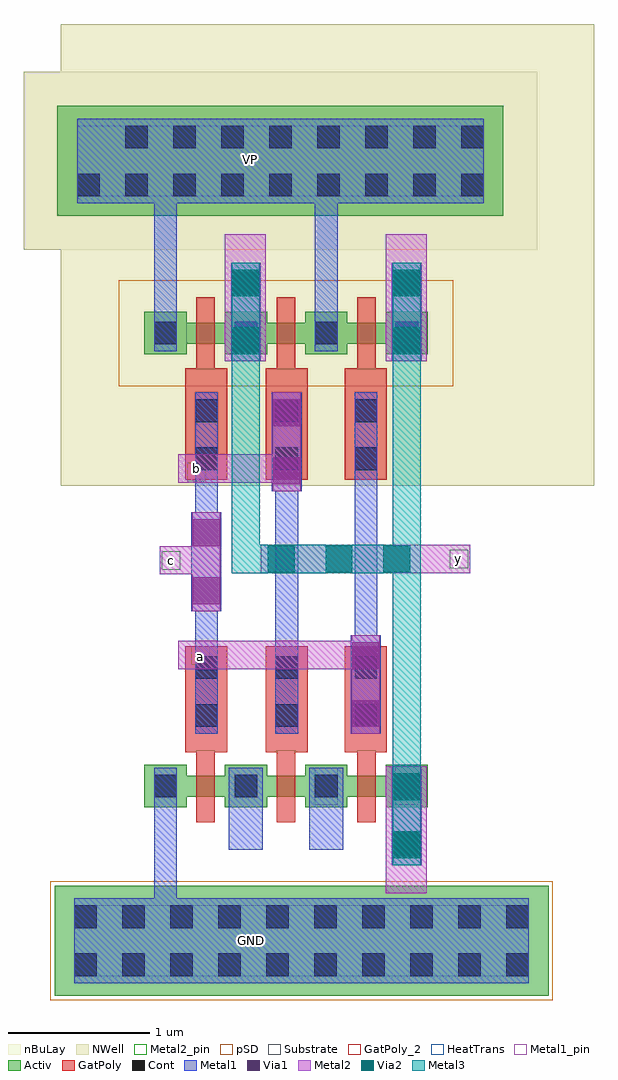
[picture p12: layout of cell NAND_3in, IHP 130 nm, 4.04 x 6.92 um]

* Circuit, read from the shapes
.subckt NAND_3in GND VP a b c y
XM1 n1 c GND GND sg13_lv_nmos w=0.15u l=0.13u
XM2 n2 b n1 GND sg13_lv_nmos w=0.15u l=0.13u
XM3 y a n2 GND sg13_lv_nmos w=0.15u l=0.13u
XM4 y c VP VP sg13_lv_pmos w=0.15u l=0.13u
XM5 VP b y VP sg13_lv_pmos w=0.15u l=0.13u
XM6 y a VP VP sg13_lv_pmos w=0.15u l=0.13u
.ends

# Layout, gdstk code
from math import pi, radians
import gdstk
lib = gdstk.Library(unit=1e-6, precision=1e-09)
def R(c, l, rs):  # rectangles x0, y0, x1, y1
    for r in rs: c.add(gdstk.rectangle(r[:2], r[2:], *l))
def A(c, l, x, y, w, h, nx, ny, dx, dy):  # array of equal rectangles
    R(c, l, [(x+i*dx, y+j*dy, x+i*dx+w, y+j*dy+h) for i in range(nx) for j in range(ny)])
Activ = (1, 0)
GatPoly = (5, 0)
GatPoly_2 = (5, 2)
Cont = (6, 0)
Metal1 = (8, 0)
Metal1_pin = (8, 2)
Metal2 = (10, 0)
Metal2_pin = (10, 2)
pSD = (14, 0)
Via1 = (19, 0)
Via2 = (29, 0)
Metal3 = (30, 0)
NWell = (31, 0)
nBuLay = (32, 0)
Substrate = (40, 0)
HeatTrans = (51, 0)

via_2_5 = lib.new_cell('Via$2$5')
R(via_2_5, Metal1, [(-0.105,-0.35,0.105,0.35)])
R(via_2_5, Metal2, [(-0.1,-0.35,0.1,0.35)])
R(via_2_5, Via1, [(-0.095,-0.3,0.095,-0.11), (-0.095,0.11,0.095,0.3)])

via_3_5 = lib.new_cell('Via$3$5')
R(via_3_5, Metal2, [(-0.1,-0.35,0.1,0.35)])
R(via_3_5, Via2, [(-0.095,-0.3,0.095,-0.11), (-0.095,0.11,0.095,0.3)])
R(via_3_5, Metal3, [(-0.1,-0.35,0.1,0.35)])

via_5 = lib.new_cell('Via$5')
R(via_5, Metal2, [(-0.1,-0.555,0.1,0.555)])
A(via_5, Via2, -0.095, -0.505, 0.19, 0.19, 1, 3, 0, 0.41)
R(via_5, Metal3, [(-0.1,-0.555,0.1,0.555)])

ntap = lib.new_cell('ntap')
R(ntap, Activ, [(-0.665,-0.22,0.115,0.56)])
R(ntap, Cont, [(-0.525,-0.08,-0.365,0.08), (-0.525,0.26,-0.365,0.42), (-0.185,0.26,-0.025,0.42)])
R(ntap, Metal1, [(-0.525,-0.13,-0.025,0.47)])
R(ntap, Metal1_pin, [(-0.525,-0.08,-0.025,0.42)])
R(ntap, NWell, [(-0.905,-0.46,0.355,0.8)])
R(ntap, nBuLay, [(-0.905,-0.46,0.355,0.8)])

ptap = lib.new_cell('ptap')
R(ptap, Activ, [(-0.425,-1.215,0.355,-0.435)])
R(ptap, Cont, [(-0.285,-1.075,-0.125,-0.915), (0.055,-1.075,0.215,-0.915), (-0.285,-0.735,-0.125,-0.575), (0.055,-0.735,0.215,-0.575)])
R(ptap, Metal1, [(-0.285,-1.125,0.215,-0.525)])
R(ptap, Metal1_pin, [(-0.285,-1.075,0.215,-0.575)])
R(ptap, pSD, [(-0.455,-1.245,0.385,-0.405)])

nmos_9 = lib.new_cell('nmos$9')
A(nmos_9, Activ, 0, 0, 0.3, 0.3, 4, 1, 0.57, 0)
R(nmos_9, Activ, [(0,0.075,2.01,0.225)])
A(nmos_9, GatPoly, 0.37, -0.105, 0.13, 0.51, 3, 1, 0.57, 0)
R(nmos_9, GatPoly_2, [(0.37,-0.105,0.5,0.405)])
A(nmos_9, Cont, 0.07, 0.07, 0.16, 0.16, 4, 1, 0.57, 0)
A(nmos_9, Metal1, 0.07, 0.02, 0.16, 0.26, 4, 1, 0.57, 0)
R(nmos_9, Metal1_pin, [(0.07,0.02,0.23,0.28), (0.64,0.02,0.8,0.28)])
A(nmos_9, HeatTrans, 0.37, -0.105, 0.13, 0.51, 3, 1, 0.57, 0)
nmos_9.add(gdstk.Label('nmos', (0.435,0.15), layer=63, texttype=0))
nmos_9.add(gdstk.Label('nmos', (0.435,0.15), layer=51, texttype=0))
nmos_9.add(gdstk.Label('nmos', (1.005,0.15), layer=51, texttype=0))
nmos_9.add(gdstk.Label('nmos', (1.575,0.15), layer=51, texttype=0))

via_4 = lib.new_cell('Via$4')
R(via_4, GatPoly, [(-0.32,-0.15,0.32,0.15)])
R(via_4, Cont, [(-0.25,-0.08,-0.09,0.08), (0.09,-0.08,0.25,0.08)])
R(via_4, Metal1, [(-0.3,-0.08,0.3,0.08)])

pmos_8 = lib.new_cell('pmos$8')
A(pmos_8, Activ, 0, 0, 0.3, 0.3, 4, 1, 0.57, 0)
R(pmos_8, Activ, [(0,0.075,2.01,0.225)])
A(pmos_8, GatPoly, 0.37, -0.105, 0.13, 0.51, 3, 1, 0.57, 0)
R(pmos_8, GatPoly, [(0.37,-0.105,0.5,0.405)])
A(pmos_8, Cont, 0.07, 0.07, 0.16, 0.16, 4, 1, 0.57, 0)
A(pmos_8, Metal1, 0.64, 0.02, 0.16, 0.26, 3, 1, 0.57, 0)
R(pmos_8, Metal1, [(0.07,0.02,0.23,0.28), (0.07,0.02,0.23,0.28), (0.64,0.02,0.8,0.28)])
R(pmos_8, pSD, [(-0.18,-0.225,2.19,0.525)])
R(pmos_8, NWell, [(-0.31,-0.31,2.32,0.61)])
R(pmos_8, Substrate, [(1.71,0,2.01,0.3)])
A(pmos_8, HeatTrans, 0.37, -0.105, 0.13, 0.51, 3, 1, 0.57, 0)
pmos_8.add(gdstk.Label('pmos', (0.435,0.15), layer=63, texttype=0))
pmos_8.add(gdstk.Label('pmos', (0.435,0.15), layer=51, texttype=0))
pmos_8.add(gdstk.Label('pmos', (1.005,0.15), layer=51, texttype=0))
pmos_8.add(gdstk.Label('pmos', (1.575,0.15), layer=51, texttype=0))

nand_3in = lib.new_cell('NAND_3in')
R(nand_3in, GatPoly, [(0.11,-2.53,0.24,-2.42), (0.68,-2.53,0.81,-2.42), (0.03,-2.51,0.33,-2.4), (0.6,-2.51,0.9,-2.4), (1.16,-2.51,1.46,-2.4), (0.03,0.06,0.33,0.21), (0.6,0.06,0.9,0.21), (1.16,0.06,1.46,0.21), (0.68,0.16,0.81,0.25), (1.25,0.16,1.38,0.25)])
R(nand_3in, Metal1, [(-0.19,-3.655,-0.03,-2.875), (0.34,-3.2,0.58,-2.94), (0.91,-3.2,1.15,-2.94), (0.34,-2.96,0.58,-2.62), (0.91,-2.96,1.15,-2.62), (0.67,-2.21,0.83,-1.27), (1.23,-2.21,1.39,-1.27), (0.1,-1.91,0.26,-0.56), (0.67,-1.31,0.83,-0.37), (1.23,-1.31,1.39,-0.37), (0.95,0.48,1.11,0.68), (-0.19,0.49,-0.03,0.63), (-0.19,0.595,-0.03,1.47), (0.95,0.595,1.11,1.42)])
R(nand_3in, Metal1_pin, [(0.435,-3.91,0.565,-3.78), (0.425,1.63,0.555,1.76)])
R(nand_3in, Metal2, [(1.45,-3.51,1.74,-3.31), (1.45,-3.31,1.74,-2.61), (-0.02,-1.92,0.41,-1.72), (0.41,-1.92,0.84,-1.72), (0.81,-1.92,1.24,-1.72), (-0.15,-1.25,0.28,-1.05), (1.62,-1.24,2.05,-1.04), (-0.02,-0.6,0.41,-0.4), (0.41,-0.6,0.84,-0.4), (0.31,0.26,0.6,0.46), (1.45,0.26,1.74,0.46), (0.31,0.46,0.6,1.16), (1.45,0.46,1.74,1.16)])
R(nand_3in, Metal2_pin, [(0.075,-1.89,0.205,-1.76), (-0.135,-1.215,-0.005,-1.085), (1.905,-1.205,2.035,-1.075), (0.045,-0.59,0.175,-0.46)])
R(nand_3in, Metal3, [(1.5,-2.62,1.7,-2.42), (1.5,-2.45,1.7,-1.04), (0.36,-1.24,0.56,-0.97), (0.38,-1.24,0.565,-1.04), (1.5,-1.09,1.7,0.17), (0.36,-0.97,0.56,0.26), (1.5,0.1,1.7,0.2), (1.5,0.19,1.7,0.35)])
R(nand_3in, NWell, [(-0.85,-0.62,2.93,2.65)])
nand_3in.add(gdstk.Reference(via_2_5, (1.31,-2.03), rotation=pi))
nand_3in.add(gdstk.Reference(via_3_5, (1.6,0.61), rotation=pi))
nand_3in.add(gdstk.Reference(via_2_5, (1.6,0.61), rotation=pi))
nand_3in.add(gdstk.Reference(via_3_5, (1.6,-2.96), rotation=pi))
nand_3in.add(gdstk.Reference(via_2_5, (1.6,-2.96), rotation=pi))
nand_3in.add(gdstk.Reference(via_2_5, (0.75,-0.31), rotation=pi))
nand_3in.add(gdstk.Reference(via_5, (1.12,-1.14), rotation=3*pi/2))
nand_3in.add(gdstk.Reference(ntap, (1.62,1.85), rotation=pi))
nand_3in.add(gdstk.Reference(ntap, (1.28,1.85), rotation=pi))
nand_3in.add(gdstk.Reference(ntap, (0.94,1.85), rotation=pi))
nand_3in.add(gdstk.Reference(ntap, (0.6,1.85), rotation=pi))
nand_3in.add(gdstk.Reference(ntap, (0.26,1.85), rotation=pi))
nand_3in.add(gdstk.Reference(ntap, (-0.08,1.85), rotation=pi))
nand_3in.add(gdstk.Reference(ptap, (1.84,-4.67), rotation=pi))
nand_3in.add(gdstk.Reference(ptap, (1.5,-4.67), rotation=pi))
nand_3in.add(gdstk.Reference(ptap, (1.16,-4.67), rotation=pi))
nand_3in.add(gdstk.Reference(ptap, (0.82,-4.67), rotation=pi))
nand_3in.add(gdstk.Reference(ptap, (0.48,-4.67), rotation=pi))
nand_3in.add(gdstk.Reference(ptap, (0.14,-4.67), rotation=pi))
nand_3in.add(gdstk.Reference(nmos_9, (1.75,-2.6), rotation=pi))
nand_3in.add(gdstk.Reference(via_4, (1.31,-2.08), rotation=3*pi/2))
nand_3in.add(gdstk.Reference(via_4, (0.75,-2.08), rotation=3*pi/2))
nand_3in.add(gdstk.Reference(via_4, (0.75,-0.26), rotation=3*pi/2))
nand_3in.add(gdstk.Reference(via_4, (1.31,-0.26), rotation=3*pi/2))
nand_3in.add(gdstk.Reference(pmos_8, (1.75,0.61), rotation=pi))
nand_3in.add(gdstk.Reference(via_4, (0.18,-2.08), rotation=3*pi/2))
nand_3in.add(gdstk.Reference(via_4, (0.18,-0.26), rotation=3*pi/2))
nand_3in.add(gdstk.Reference(via_2_5, (0.18,-1.16), rotation=pi))
nand_3in.add(gdstk.Reference(ntap, (-0.42,1.85), rotation=pi))
nand_3in.add(gdstk.Reference(ntap, (-0.76,1.85), rotation=pi))
nand_3in.add(gdstk.Reference(ptap, (-0.2,-4.67), rotation=pi))
nand_3in.add(gdstk.Reference(ptap, (-0.54,-4.67), rotation=pi))
nand_3in.add(gdstk.Reference(ptap, (2.18,-4.67), rotation=pi))
nand_3in.add(gdstk.Reference(via_3_5, (0.46,0.61), rotation=pi))
nand_3in.add(gdstk.Reference(via_2_5, (0.46,0.61), rotation=pi))
nand_3in.add(gdstk.Label('VP', (0.49,1.69), layer=8, texttype=25))
nand_3in.add(gdstk.Label('GND', (0.5,-3.84), layer=8, texttype=25))
nand_3in.add(gdstk.Label('a', (0.14,-1.83), layer=10, texttype=25))
nand_3in.add(gdstk.Label('b', (0.11,-0.5), layer=10, texttype=25))
nand_3in.add(gdstk.Label('y', (1.97,-1.14), layer=10, texttype=25))
nand_3in.add(gdstk.Label('c', (-0.07,-1.15), layer=10, texttype=25))

lib.write_gds('NAND_3in.gds')
